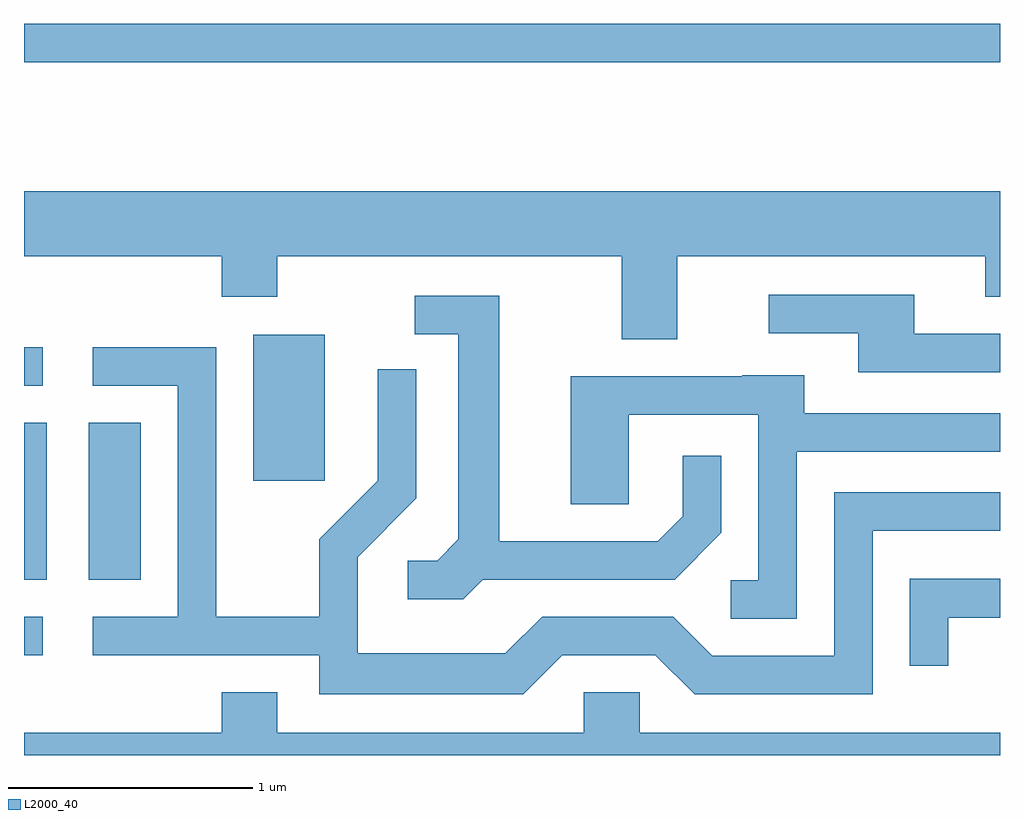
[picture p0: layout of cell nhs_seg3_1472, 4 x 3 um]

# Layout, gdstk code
import gdstk
lib = gdstk.Library(unit=1e-6, precision=1e-09)
def R(c, l, rs):  # rectangles x0, y0, x1, y1
    for r in rs: c.add(gdstk.rectangle(r[:2], r[2:], *l))
def P(c, l, *ps):  # polygons
    for p in ps: c.add(gdstk.Polygon(p, *l))
L2000_40 = (2000, 40)

nhs_seg3_1472 = lib.new_cell('nhs_seg3_1472')
R(nhs_seg3_1472, L2000_40, [(227.611,1204.301,227.688,1204.459), (227.611,1204.611,227.704,1205.254), (227.876,1204.611,228.089,1205.254), (228.551,1205.016,228.844,1205.614), (227.611,1205.406,227.688,1205.564), (227.611,1206.731,231.611,1206.889)])
P(nhs_seg3_1472, L2000_40, [(230.289,1205.936),(231.551,1205.936),(231.551,1205.771),(231.611,1205.771),(231.611,1206.204),(227.611,1206.204),(227.611,1205.936),(228.421,1205.936),(228.421,1205.771),(228.649,1205.771),(228.649,1205.936),(230.061,1205.936),(230.061,1205.596),(230.289,1205.596)],
  [(231.611,1205.619),(231.259,1205.619),(231.259,1205.779),(230.663,1205.779),(230.663,1205.621),(231.031,1205.621),(231.031,1205.461),(231.611,1205.461)],
  [(229.492,1204.611),(230.277,1204.611),(230.469,1204.804),(230.469,1205.118),(230.311,1205.118),(230.311,1204.872),(230.209,1204.769),(229.559,1204.769),(229.559,1205.774),(229.213,1205.774),(229.213,1205.616),(229.391,1205.616),(229.391,1204.777),(229.304,1204.689),(229.183,1204.689),(229.183,1204.531),(229.412,1204.531)],
  [(229.817,1204.301),(230.199,1204.301),(230.359,1204.141),(231.089,1204.141),(231.089,1204.811),(231.611,1204.811),(231.611,1204.969),(230.931,1204.969),(230.931,1204.299),(230.432,1204.299),(230.272,1204.459),(229.734,1204.459),(229.584,1204.309),(228.979,1204.309),(228.979,1204.704),(229.219,1204.944),(229.219,1205.473),(229.061,1205.473),(229.061,1205.017),(228.821,1204.777),(228.821,1204.459),(228.399,1204.459),(228.399,1205.564),(227.893,1205.564),(227.893,1205.406),(228.241,1205.406),(228.241,1204.459),(227.893,1204.459),(227.893,1204.301),(228.821,1204.301),(228.821,1204.141),(229.657,1204.141)],
  [(230.779,1205.136),(231.611,1205.136),(231.611,1205.294),(230.809,1205.294),(230.809,1205.449),(230.555,1205.449),(230.555,1205.444),(229.851,1205.444),(229.851,1204.921),(230.089,1204.921),(230.089,1205.286),(230.621,1205.286),(230.621,1204.609),(230.508,1204.609),(230.508,1204.451),(230.779,1204.451)],
  [(231.399,1204.456),(231.611,1204.456),(231.611,1204.614),(231.241,1204.614),(231.241,1204.258),(231.399,1204.258)],
  [(231.611,1203.984),(230.134,1203.984),(230.134,1204.149),(229.906,1204.149),(229.906,1203.984),(228.649,1203.984),(228.649,1204.149),(228.421,1204.149),(228.421,1203.984),(227.611,1203.984),(227.611,1203.892),(231.611,1203.892)])

lib.write_gds('nhs_seg3_1472.gds')
